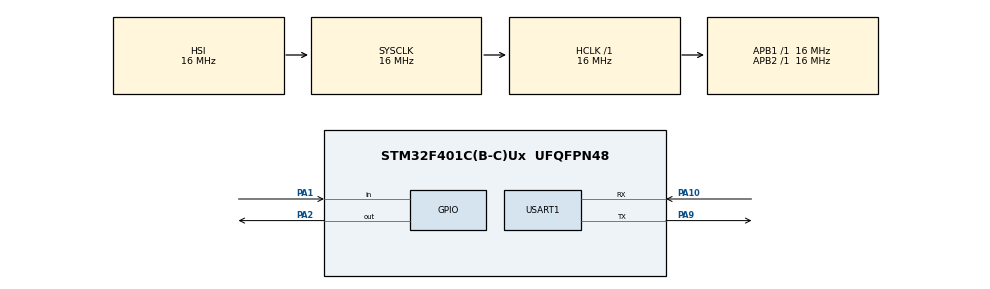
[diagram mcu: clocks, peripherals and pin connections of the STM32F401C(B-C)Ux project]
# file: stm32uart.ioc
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Dma.Request0=USART1_RX
Dma.Request1=USART1_TX
Dma.USART1_RX.0.Direction=DMA_PERIPH_TO_MEMORY
Dma.USART1_RX.0.FIFOMode=DMA_FIFOMODE_DISABLE
Dma.USART1_RX.0.Instance=DMA2_Stream2
Dma.USART1_RX.0.MemDataAlignment=DMA_MDATAALIGN_BYTE
Dma.USART1_RX.0.MemInc=DMA_MINC_ENABLE
Dma.USART1_RX.0.Mode=DMA_NORMAL
Dma.USART1_RX.0.PeriphDataAlignment=DMA_PDATAALIGN_BYTE
Dma.USART1_RX.0.PeriphInc=DMA_PINC_DISABLE
Dma.USART1_RX.0.Priority=DMA_PRIORITY_LOW
Dma.USART1_TX.1.Direction=DMA_MEMORY_TO_PERIPH
Dma.USART1_TX.1.FIFOMode=DMA_FIFOMODE_DISABLE
Dma.USART1_TX.1.Instance=DMA2_Stream7
Dma.USART1_TX.1.MemDataAlignment=DMA_MDATAALIGN_BYTE
Dma.USART1_TX.1.MemInc=DMA_MINC_ENABLE
Dma.USART1_TX.1.Mode=DMA_NORMAL
Dma.USART1_TX.1.PeriphDataAlignment=DMA_PDATAALIGN_BYTE
Dma.USART1_TX.1.PeriphInc=DMA_PINC_DISABLE
Dma.USART1_TX.1.Priority=DMA_PRIORITY_LOW
Mcu.Family=STM32F4
Mcu.Name=STM32F401C(B-C)Ux
Mcu.Package=UFQFPN48
NVIC.DMA2_Stream2_IRQn=true\:0\:0\:false\:false\:true\:false\:true\:true
NVIC.DMA2_Stream7_IRQn=true\:0\:0\:false\:false\:true\:false\:true\:true
NVIC.PriorityGroup=NVIC_PRIORITYGROUP_4
NVIC.USART1_IRQn=true\:0\:0\:false\:false\:true\:true\:true\:true
PA1.GPIO_PuPd=GPIO_PULLUP
PA1.Signal=GPIO_Input
PA10.Mode=Asynchronous
PA10.Signal=USART1_RX
PA2.Signal=GPIO_Output
PA9.Mode=Asynchronous
PA9.Signal=USART1_TX
ProjectManager.HeapSize=0x200
ProjectManager.StackSize=0x400
ProjectManager.TargetToolchain=STM32CubeIDE
RCC.AHBFreq_Value=16000000
RCC.APB1Freq_Value=16000000
RCC.APB2Freq_Value=16000000
RCC.CortexFreq_Value=16000000
RCC.HSE_VALUE=25000000
RCC.HSI_VALUE=16000000
RCC.LSE_VALUE=32768
RCC.SYSCLKFreq_VALUE=16000000
RCC.VCOOutputFreq_Value=192000000
USART1.VirtualMode=VM_ASYNC
board=custom

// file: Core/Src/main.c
/* USER CODE BEGIN Header */
/**
  ******************************************************************************
  * @file           : main.c
  * @brief          : Main program body
  ******************************************************************************
  * @attention
  *
  * Copyright (c) 2026 STMicroelectronics.
  * All rights reserved.
  *
  * This software is licensed under terms that can be found in the LICENSE file
  * in the root directory of this software component.
  * If no LICENSE file comes with this software, it is provided AS-IS.
  *
  ******************************************************************************
  */
/* USER CODE END Header */
#include "main.h"

UART_HandleTypeDef huart1;
DMA_HandleTypeDef hdma_usart1_rx;
DMA_HandleTypeDef hdma_usart1_tx;

/* USER CODE BEGIN PV */
#define BUTTON_PIN          GPIO_PIN_1
#define BUTTON_PORT         GPIOA
#define LED_PIN              GPIO_PIN_2
#define LED_PORT             GPIOA
#define BUTTON_EVENT_BYTE    'B'
#define DEBOUNCE_MS          50

static uint8_t rxByte = 0;
static GPIO_PinState lastButtonState = GPIO_PIN_SET; /* pull-up: idle = HIGH */
static uint32_t lastDebounceTick = 0;
/* USER CODE END PV */

void SystemClock_Config(void);
static void MX_GPIO_Init(void);
static void MX_DMA_Init(void);
static void MX_USART1_UART_Init(void);

int main(void)
{

  /* MCU Configuration--------------------------------------------------------*/

  /* Reset of all peripherals, Initializes the Flash interface and the Systick. */
  HAL_Init();

  /* Configure the system clock */
  SystemClock_Config();

  /* Initialize all configured peripherals */
  MX_GPIO_Init();
  MX_DMA_Init();
  MX_USART1_UART_Init();
  /* USER CODE BEGIN 2 */
  HAL_UART_Receive_IT(&huart1, &rxByte, 1);
  /* USER CODE END 2 */

  /* Infinite loop */
  /* USER CODE BEGIN WHILE */
  while (1)
  {
    GPIO_PinState currentState = HAL_GPIO_ReadPin(BUTTON_PORT, BUTTON_PIN);

    if (currentState != lastButtonState && (HAL_GetTick() - lastDebounceTick) > DEBOUNCE_MS)
    {
      lastDebounceTick = HAL_GetTick();
      lastButtonState = currentState;

      if (currentState == GPIO_PIN_RESET) /* pressed: pull-up input goes LOW */
      {
        uint8_t txByte = BUTTON_EVENT_BYTE;
        HAL_UART_Transmit(&huart1, &txByte, 1, HAL_MAX_DELAY);
      }
    }

    /* USER CODE END WHILE */

  }
}

void SystemClock_Config(void)
{
  RCC_OscInitTypeDef RCC_OscInitStruct = {0};
  RCC_ClkInitTypeDef RCC_ClkInitStruct = {0};

  /** Configure the main internal regulator output voltage
  */
  __HAL_RCC_PWR_CLK_ENABLE();
  __HAL_PWR_VOLTAGESCALING_CONFIG(PWR_REGULATOR_VOLTAGE_SCALE2);

  /** Initializes the RCC Oscillators according to the specified parameters
  * in the RCC_OscInitTypeDef structure.
  */
  RCC_OscInitStruct.OscillatorType = RCC_OSCILLATORTYPE_HSI;
  RCC_OscInitStruct.HSIState = RCC_HSI_ON;
  RCC_OscInitStruct.HSICalibrationValue = RCC_HSICALIBRATION_DEFAULT;
  RCC_OscInitStruct.PLL.PLLState = RCC_PLL_NONE;
  if (HAL_RCC_OscConfig(&RCC_OscInitStruct) != HAL_OK)
  {
    Error_Handler();
  }

  /** Initializes the CPU, AHB and APB buses clocks
  */
  RCC_ClkInitStruct.ClockType = RCC_CLOCKTYPE_HCLK|RCC_CLOCKTYPE_SYSCLK
                              |RCC_CLOCKTYPE_PCLK1|RCC_CLOCKTYPE_PCLK2;
  RCC_ClkInitStruct.SYSCLKSource = RCC_SYSCLKSOURCE_HSI;
  RCC_ClkInitStruct.AHBCLKDivider = RCC_SYSCLK_DIV1;
  RCC_ClkInitStruct.APB1CLKDivider = RCC_HCLK_DIV1;
  RCC_ClkInitStruct.APB2CLKDivider = RCC_HCLK_DIV1;

  if (HAL_RCC_ClockConfig(&RCC_ClkInitStruct, FLASH_LATENCY_0) != HAL_OK)
  {
    Error_Handler();
  }
}

static void MX_USART1_UART_Init(void)
{

  huart1.Instance = USART1;
  huart1.Init.BaudRate = 115200;
  huart1.Init.WordLength = UART_WORDLENGTH_8B;
  huart1.Init.StopBits = UART_STOPBITS_1;
  huart1.Init.Parity = UART_PARITY_NONE;
  huart1.Init.Mode = UART_MODE_TX_RX;
  huart1.Init.HwFlowCtl = UART_HWCONTROL_NONE;
  huart1.Init.OverSampling = UART_OVERSAMPLING_16;
  if (HAL_UART_Init(&huart1) != HAL_OK)
  {
    Error_Handler();
  }

}

static void MX_DMA_Init(void)
{

  /* DMA controller clock enable */
  __HAL_RCC_DMA2_CLK_ENABLE();

  /* DMA interrupt init */
  /* DMA2_Stream2_IRQn interrupt configuration */
  HAL_NVIC_SetPriority(DMA2_Stream2_IRQn, 0, 0);
  HAL_NVIC_EnableIRQ(DMA2_Stream2_IRQn);
  /* DMA2_Stream7_IRQn interrupt configuration */
  HAL_NVIC_SetPriority(DMA2_Stream7_IRQn, 0, 0);
  HAL_NVIC_EnableIRQ(DMA2_Stream7_IRQn);

}

static void MX_GPIO_Init(void)
{
  GPIO_InitTypeDef GPIO_InitStruct = {0};

  /* GPIO Ports Clock Enable */
  __HAL_RCC_GPIOA_CLK_ENABLE();

  /*Configure GPIO pin Output Level */
  HAL_GPIO_WritePin(GPIOA, GPIO_PIN_2, GPIO_PIN_RESET);

  /*Configure GPIO pin : PA1 */
  GPIO_InitStruct.Pin = GPIO_PIN_1;
  GPIO_InitStruct.Mode = GPIO_MODE_INPUT;
  GPIO_InitStruct.Pull = GPIO_PULLUP;
  HAL_GPIO_Init(GPIOA, &GPIO_InitStruct);

  /*Configure GPIO pin : PA2 */
  GPIO_InitStruct.Pin = GPIO_PIN_2;
  GPIO_InitStruct.Mode = GPIO_MODE_OUTPUT_PP;
  GPIO_InitStruct.Pull = GPIO_NOPULL;
  GPIO_InitStruct.Speed = GPIO_SPEED_FREQ_LOW;
  HAL_GPIO_Init(GPIOA, &GPIO_InitStruct);

}

/* USER CODE BEGIN 4 */
void HAL_UART_RxCpltCallback(UART_HandleTypeDef *huart)
{
  if (huart->Instance == USART1)
  {
    if (rxByte == BUTTON_EVENT_BYTE)
    {
      HAL_GPIO_TogglePin(LED_PORT, LED_PIN);
    }

    HAL_UART_Receive_IT(&huart1, &rxByte, 1);
  }
}
/* USER CODE END 4 */

void Error_Handler(void)
{
  __disable_irq();
  while (1)
  {
  }
}
